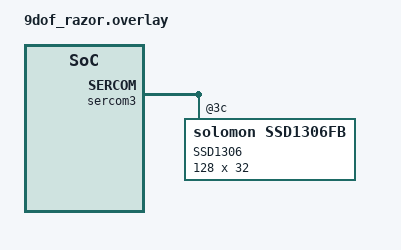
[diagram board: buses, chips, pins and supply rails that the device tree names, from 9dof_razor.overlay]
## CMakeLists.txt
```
# Find Zephyr. This also loads Zephyr's build system.
cmake_minimum_required(VERSION 3.13.1)
find_package(Zephyr)
project(my_zephyr_app)

# Add your source file to the "app" target. This must come after
# find_package(Zephyr) which defines the target.
target_sources(app PRIVATE src/opv_main.c)
target_sources(app PRIVATE src/9dof_hal.c)
```

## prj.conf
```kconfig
# Drivers and peripherals
CONFIG_WATCHDOG=n
CONFIG_GPIO=y
CONFIG_PINMUX=y
CONFIG_SERIAL=y
CONFIG_FLASH=y

# Power management
CONFIG_PM=y

# Interrupts
CONFIG_DYNAMIC_INTERRUPTS=n
CONFIG_IRQ_OFFLOAD=n

# Memory protection
CONFIG_THREAD_STACK_INFO=n
CONFIG_THREAD_CUSTOM_DATA=n
CONFIG_FPU=n

# Boot
CONFIG_BOOT_BANNER=n
CONFIG_BOOT_DELAY=0

# Console
CONFIG_CONSOLE=y
CONFIG_UART_CONSOLE=n
CONFIG_STDOUT_CONSOLE=y
CONFIG_PRINTK=y


# Build
CONFIG_SIZE_OPTIMIZATIONS=y


CONFIG_RTT_CONSOLE=y

CONFIG_USE_SEGGER_RTT=y

CONFIG_SENSOR=y
CONFIG_MPU9250=y
CONFIG_AK8963=y

CONFIG_MPU9250_TRIGGER_NONE=n
CONFIG_CBPRINTF_FP_SUPPORT=y

CONFIG_LOG=n

CONFIG_HEAP_MEM_POOL_SIZE=256
CONFIG_ASSERT=y

# Display
CONFIG_DISPLAY=y
CONFIG_SSD1306=y
CONFIG_SSD1306_DEFAULT_CONTRAST=128
CONFIG_SSD1306_DEFAULT=y

CONFIG_CHARACTER_FRAMEBUFFER=y
CONFIG_CHARACTER_FRAMEBUFFER_USE_DEFAULT_FONTS=n
```

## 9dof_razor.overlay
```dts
&sercom3 {

    ssd1306@3c {
        compatible = "solomon,ssd1306fb";
        reg = <0x3c>;
        label = "SSD1306";
        height = <32>;
        width  = <128>;
        segment-offset  = <0>;
        page-offset     = <0>;
        display-offset  = <0>;
        multiplex-ratio = <31>;
        prechargep      = <0xD1>;
        segment-remap;
        com-invdir;
        com-sequential;
    };

};
```

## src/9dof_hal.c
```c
/*
 * Copyright (c) 2020   oolon.org
 *
 * SPDX-License-Identifier: Apache-2.0
 */

#include <zephyr.h>
#include <device.h>
#include <devicetree.h>
#include <drivers/gpio.h>
#include <sys/printk.h>
#include <drivers/i2c.h>
#include <drivers/sensor.h>
#include <stdio.h>

#include "9dof_hal.h"

/* Test i2c */
#define I2C_DEV DT_LABEL(DT_ALIAS(i2c_0))

static const char *now_str(void)
{
	static char buf[16]; /* ...HH:MM:SS.MMM */
	uint32_t now = k_uptime_get_32();
	unsigned int ms = now % MSEC_PER_SEC;
	unsigned int s;
	unsigned int min;
	unsigned int h;

	now /= MSEC_PER_SEC;
	s = now % 60U;
	now /= 60U;
	min = now % 60U;
	now /= 60U;
	h = now;

	snprintf(buf, sizeof(buf), "%u:%02u:%02u.%03u",
		 h, min, s, ms);
	return buf;
}

int razor_hal_init()
{
    printk("##Enter razor_hal_init\n");

	 /* Check for i2c */
	const struct device * i2c_dev;
	i2c_dev = device_get_binding(I2C_DEV);

	if (!i2c_dev) {
		printk("I2C: Device driver not found.\n");
		return -EIO;
	}

    /* Check for MPU9250 	*/
    const char *const label = DT_LABEL(DT_INST(0, invensense_mpu9250));
	const struct device *mpu9250 = device_get_binding(label);

	if (!mpu9250) {
		printk("Failed to find sensor %s\n", label);
		return -EIO;;
	}

    /* Check for AK8963 */
	const struct device *ak8963 = device_get_binding("AK8963");

    if (!ak8963) {
		printk("Failed to find sensor AK8963\n");
		return -EIO;;
	}

    return 0;
}

int process_razor(void)
{
	/*
	Get all sensor values 
	*/

	int rc;

	const char *const label = DT_LABEL(DT_INST(0, invensense_mpu9250));
	const struct device *mpu9250 = device_get_binding(label);

	const struct device *ak8963 = device_get_binding("AK8963");

	struct sensor_value temperature;
	struct sensor_value accel[3];
	struct sensor_value gyro[3];
	struct sensor_value mag[3];

	rc = sensor_sample_fetch(mpu9250);

	rc = sensor_sample_fetch(ak8963);

	if (rc == 0) {
		rc = sensor_channel_get(mpu9250, SENSOR_CHAN_ACCEL_XYZ, accel);
	}

	if (rc == 0) {
		rc = sensor_channel_get(mpu9250, SENSOR_CHAN_GYRO_XYZ, gyro);
	}

	if (rc == 0) {
		rc = sensor_channel_get(mpu9250, SENSOR_CHAN_AMBIENT_TEMP, &temperature);
	}
	
	if (rc == 0) {
		rc = sensor_channel_get(ak8963, SENSOR_CHAN_MAGN_XYZ,mag);
	}

	if (rc == 0) {
		printk("[%s]:%g Cel\n"
		       "  accel %f %f %f m/s/s\n"
		       "  gyro  %f %f %f rad/s\n"
			   "  mag 	%f %f %f \n",
		       now_str(),
		       sensor_value_to_double(&temperature),
		       sensor_value_to_double(&accel[0]),
		       sensor_value_to_double(&accel[1]),
		       sensor_value_to_double(&accel[2]),
		       sensor_value_to_double(&gyro[0]),
		       sensor_value_to_double(&gyro[1]),
		       sensor_value_to_double(&gyro[2]),
			   sensor_value_to_double(&mag[0]),
		       sensor_value_to_double(&mag[1]),
		       sensor_value_to_double(&mag[2]));
	} else {
		printk("sample fetch/get failed: %d\n", rc);
	}
	
	return 0;

}


int process_mpu9250(const struct device *dev)
{
	struct sensor_value temperature;
	struct sensor_value accel[3];
	struct sensor_value gyro[3];
	
	int rc = sensor_sample_fetch(dev);

	if (rc == 0) {
		rc = sensor_channel_get(dev, SENSOR_CHAN_ACCEL_XYZ,
					accel);
	}
	if (rc == 0) {
		rc = sensor_channel_get(dev, SENSOR_CHAN_GYRO_XYZ,
					gyro);
	}
	if (rc == 0) {
		rc = sensor_channel_get(dev, SENSOR_CHAN_AMBIENT_TEMP,
					&temperature);
	}
	if (rc == 0) {
		printk("[%s]:%g Cel\n"
		       "  accel %f %f %f m/s/s\n"
		       "  gyro  %f %f %f rad/s\n",
		       now_str(),
		       sensor_value_to_double(&temperature),
		       sensor_value_to_double(&accel[0]),
		       sensor_value_to_double(&accel[1]),
		       sensor_value_to_double(&accel[2]),
		       sensor_value_to_double(&gyro[0]),
		       sensor_value_to_double(&gyro[1]),
		       sensor_value_to_double(&gyro[2]));
	} else {
		printk("sample fetch/get failed: %d\n", rc);
	}

	return rc;
}


int process_ak8963(const struct device *dev)
{
	struct sensor_value mag[3];
	int rc = sensor_sample_fetch(dev);

	if (rc == 0) {
		rc = sensor_channel_get(dev, SENSOR_CHAN_MAGN_XYZ,mag);
	}

	if (rc == 0) {
		printk("[%s]: mag %f %f %f \n",
		       now_str(),
		       sensor_value_to_double(&mag[0]),
		       sensor_value_to_double(&mag[1]),
		       sensor_value_to_double(&mag[2]));
	} else {
		printk("sample fetch/get failed: %d\n", rc);
	}

	return rc;
}
```

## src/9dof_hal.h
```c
/*
 * Copyright (c) 2020   oolon.org
 *
 * SPDX-License-Identifier: Apache-2.0
 */



int razor_hal_init();

int process_razor();
```

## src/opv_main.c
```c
/*
 *  ogv_main
 */

#include <zephyr.h>
#include <device.h>
#include <drivers/gpio.h>
#include <sys/printk.h>
#include <sys/__assert.h>
#include <string.h>

#include "9dof_hal.h"

/* size of stack area used by each thread */
#define STACKSIZE 1024

/* scheduling priority used by each thread */
#define PRIORITY 7

#define LED0_NODE DT_ALIAS(led0)

struct printk_data_t {
	void *fifo_reserved; /* 1st word reserved for use by fifo */
	uint32_t led;
	uint32_t cnt;
};

K_FIFO_DEFINE(printk_fifo);

struct led {
	const char *gpio_dev_name;
	const char *gpio_pin_name;
	unsigned int gpio_pin;
	unsigned int gpio_flags;
};

int rc;

void blink(const struct led *led, uint32_t sleep_ms, uint32_t id)
{
	const struct device *gpio_dev;
	int cnt = 0;
	int ret;

	gpio_dev = device_get_binding(led->gpio_dev_name);
	if (gpio_dev == NULL) {
		printk("Error: didn't find %s device\n",
		       led->gpio_dev_name);
		return;
	}

	ret = gpio_pin_configure(gpio_dev, led->gpio_pin, led->gpio_flags);
	if (ret != 0) {
		printk("Error %d: failed to configure pin %d '%s'\n",
			ret, led->gpio_pin, led->gpio_pin_name);
		return;
	}

	while (1) {
		gpio_pin_set(gpio_dev, led->gpio_pin, cnt % 2);

		struct printk_data_t tx_data = { .led = id, .cnt = cnt };

		size_t size = sizeof(struct printk_data_t);
		char *mem_ptr = k_malloc(size);
		__ASSERT_NO_MSG(mem_ptr != 0);

		memcpy(mem_ptr, &tx_data, size);

		k_fifo_put(&printk_fifo, mem_ptr);

		k_msleep(sleep_ms);
		cnt++;
	}
}

void blink0(void)
{
	const struct led led0 = {
#if DT_NODE_HAS_STATUS(LED0_NODE, okay)
		.gpio_dev_name = DT_GPIO_LABEL(LED0_NODE, gpios),
		.gpio_pin_name = DT_LABEL(LED0_NODE),
		.gpio_pin = DT_GPIO_PIN(LED0_NODE, gpios),
		.gpio_flags = GPIO_OUTPUT | DT_GPIO_FLAGS(LED0_NODE, gpios),
#else
#error "Unsupported board: led0 devicetree alias is not defined"
#endif
	};

	blink(&led0, 100, 0);
}

void uart_out(void)
{
	while (1) {
		struct printk_data_t *rx_data = k_fifo_get(&printk_fifo,
							   K_FOREVER);
		printk("Toggled led%d; counter=%d\n",
		       rx_data->led, rx_data->cnt);
		k_free(rx_data);
	}
}

void razor(void)
{
	int rc;

	while(1){

		rc = process_razor();

		k_msleep(50);

	}

}

K_THREAD_DEFINE(blink0_id, STACKSIZE, blink0, NULL, NULL, NULL,
		PRIORITY, 0, 0);

K_THREAD_DEFINE(uart_out_id, STACKSIZE, uart_out, NULL, NULL, NULL,
		PRIORITY, 0, 0);

K_THREAD_DEFINE(razor_id, STACKSIZE, razor, NULL, NULL, NULL,
		PRIORITY, 0, 0);
```
